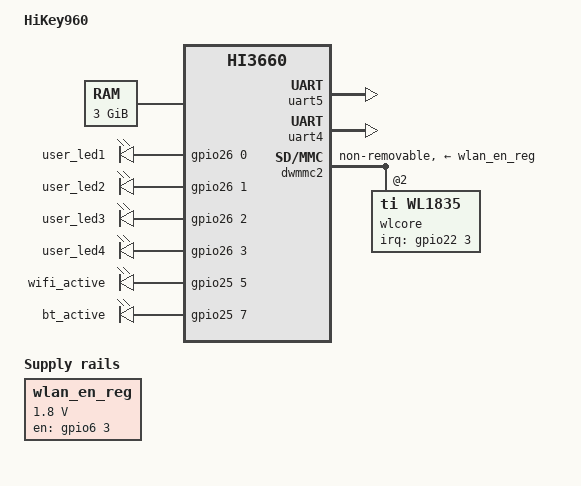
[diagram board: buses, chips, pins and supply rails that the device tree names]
/*
 * dts file for Hisilicon HiKey960 Development Board
 *
 * Copyright (C) 2016, Hisilicon Ltd.
 *
 */

/dts-v1/;

#include "hi3660.dtsi"
#include "hi3660-ion.dtsi"
#include "hikey960-pinctrl.dtsi"

/ {
	model = "HiKey960";
	compatible = "hisilicon,hi3660-hikey960", "hisilicon,hi3660";
	hisi,boardid = <5 3 0 0>;

	aliases {
		mshc2 = &dwmmc2;
		serial0 = &uart0;
		serial1 = &uart1;
		serial2 = &uart2;
		serial3 = &uart3;
		serial4 = &uart4;
		serial5 = &uart5;	/* console UART */
		serial6 = &uart6;
	};

	chosen {
		stdout-path = "serial5:115200n8";
	};

	memory@0 {
		device_type = "memory";
		reg = <0x0 0x00400000 0x0 0xBFE00000>;
	};

	soc {
		uart5: uart@fdf05000 {
			status = "ok";
		};
	};

	smmu {
		compatible = "hisi,hisi-smmu";
		phy_pgd_base = <0x0 0x34A78000>;
	};

	smmu_lpae{
		compatible = "hisi,hisi-smmu-lpae";
		status = "ok";
	};

	/* bluetooth - TI WL1835 */
	kim {
		compatible = "kim";
		pinctrl-names = "default";
		pinctrl-0 = <>; /* FIXME: add BT PCM pinctrl here */
		/*
		 * FIXME: The following is complete CRAP since
		 * the vendor driver doesn't follow the gpio
		 * binding. Passing in a magic Linux gpio number
		 * here until we fix the vendor driver.
		 */
		/* BT_EN: GPIO_126_BT_EN */
		nshutdown_gpio = <390>;
		dev_name = "/dev/ttyAMA4";
		flow_cntrl = <1>;
		/* baud_rate = <3000000>; */
		baud_rate = <115200>;
	};

	btwilink {
		compatible = "btwilink";
	};

	/* power control mechanism for WLAN_EN */
	wlan_en_reg: fixedregulator@1 {
		compatible = "regulator-fixed";
		regulator-name = "wlan-en-regulator";
		regulator-min-microvolt = <1800000>;
		regulator-max-microvolt = <1800000>;

		/* WLAN_EN GPIO for this board - GPIO_051_WIFI_EN */
		gpio = <&gpio6 3 0>;

		/* WLAN card specific delay */
		startup-delay-us = <70000>;
		enable-active-high;
	};

	leds {
		compatible = "gpio-leds";
		user_led1 {
			label = "user_led1";
			gpios = <&gpio26 0 0>; /* <&gpio_208_user_led1>; */
			linux,default-trigger = "heartbeat";
		};

		user_led2 {
			label = "user_led2";
			gpios = <&gpio26 1 0>; /* <&gpio_209_user_led2>; */
			linux,default-trigger = "mmc0"; /* microSD card */
		};

		user_led3 {
			label = "user_led3";
			gpios = <&gpio26 2 0>; /* <&gpio_210_user_led3>; */
			default-state = "off";
		};

		user_led4 {
			label = "user_led4";
			gpios = <&gpio26 3 0>; /* <&gpio_211_user_led4>; */
			linux,default-trigger = "cpu0";
		};

		wlan_active_led {
			label = "wifi_active";
			gpios = <&gpio25 5 0>; /* <&gpio_205_wifi_active>; */
			linux,default-trigger = "phy0tx";
			default-state = "off";
		};

		bt_active_led {
			label = "bt_active";
			gpios = <&gpio25 7 0>; /* <&gpio_207_user_led1>; */
			linux,default-trigger = "hci0rx";
			default-state = "off";
		};
	};
};

&uart4 {
	status = "ok";
};

&dwmmc2 { /* WIFI */
	broken-cd;
	/* WL_EN */
	vmmc-supply = <&wlan_en_reg>;
	ti,non-removable;
	non-removable;
	#address-cells = <0x1>;
	#size-cells = <0x0>;
	status = "ok";

	wlcore: wlcore@2 {
		compatible = "ti,wl1835";
		reg = <2>;      /* sdio func num */
		/* WL_IRQ, GPIO_179_WL_WAKEUP_AP */
		interrupt-parent = <&gpio22>;
		interrupts = <3 1>; /* IRQ_TYPE_EDGE_RISING */
	};
};
